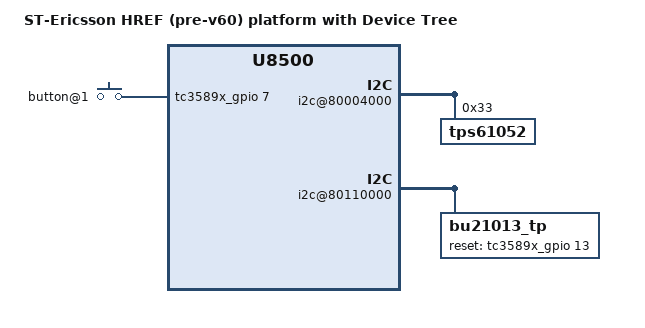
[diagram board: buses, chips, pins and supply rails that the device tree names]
/*
 * Copyright 2012 ST-Ericsson AB
 *
 * The code contained herein is licensed under the GNU General Public
 * License. You may obtain a copy of the GNU General Public License
 * Version 2 or later at the following locations:
 *
 * http://www.opensource.org/licenses/gpl-license.html
 * http://www.gnu.org/copyleft/gpl.html
 */

/dts-v1/;
/include/ "dbx5x0.dtsi"
/include/ "href.dtsi"
/include/ "stuib.dtsi"

/ {
	model = "ST-Ericsson HREF (pre-v60) platform with Device Tree";
	compatible = "st-ericsson,mop500", "st-ericsson,u8500";

	gpio_keys {
		button@1 {
			gpios = <&tc3589x_gpio 7 0x4>;
		};
	};

	soc-u9500 {
		i2c@80004000 {
			tps61052@33 {
				compatible = "tps61052";
				reg = <0x33>;
			};
		};

		i2c@80110000 {
			bu21013_tp@0x5c {
				reset-gpio = <&tc3589x_gpio 13 0x4>;
			};
		};

		vmmci: regulator-gpio {
			gpios = <&tc3589x_gpio 18 0x4>;
			enable-gpio = <&tc3589x_gpio 17 0x4>;

			status = "okay";
		};
	};
};
